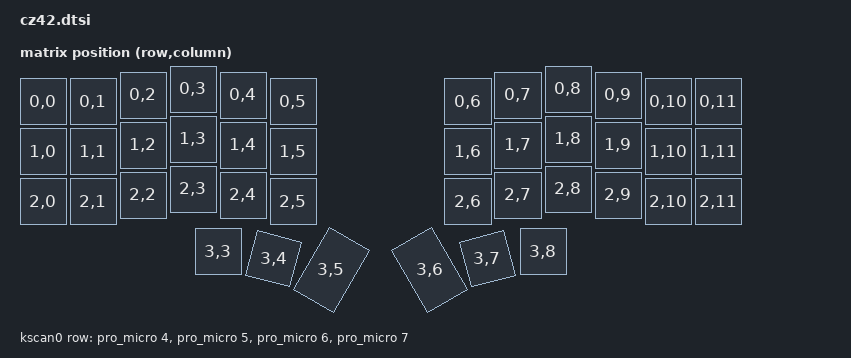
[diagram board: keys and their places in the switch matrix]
/*
 * Copyright (c) 2021 Darryl deHaan
 * SPDX-License-Identifier: MIT
 */

#include <physical_layouts.dtsi>
#include <dt-bindings/zmk/matrix_transform.h>
#include <dt-bindings/led/led.h>

/ {
  chosen {
    zmk,kscan = &kscan0;
  };

  default_transform: keymap_transform_0 {
    compatible = "zmk,matrix-transform";
    columns = <12>;
    rows = <4>;

    map =
      <
       RC(0,0) RC(0,1) RC(0,2) RC(0,3) RC(0,4) RC(0,5)    RC(0,6) RC(0,7) RC(0,8) RC(0,9) RC(0,10) RC(0,11)
       RC(1,0) RC(1,1) RC(1,2) RC(1,3) RC(1,4) RC(1,5)    RC(1,6) RC(1,7) RC(1,8) RC(1,9) RC(1,10) RC(1,11)
       RC(2,0) RC(2,1) RC(2,2) RC(2,3) RC(2,4) RC(2,5)    RC(2,6) RC(2,7) RC(2,8) RC(2,9) RC(2,10) RC(2,11)
       /**/                    RC(3,3) RC(3,4) RC(3,5)    RC(3,6) RC(3,7) RC(3,8)
      >;
  };

  kscan0: kscan {
    compatible = "zmk,kscan-gpio-matrix";
    wakeup-source;
    diode-direction = "col2row";
    row-gpios
      = <&pro_micro 4 (GPIO_ACTIVE_HIGH | GPIO_PULL_DOWN)>
      , <&pro_micro 5 (GPIO_ACTIVE_HIGH | GPIO_PULL_DOWN)>
      , <&pro_micro 6 (GPIO_ACTIVE_HIGH | GPIO_PULL_DOWN)>
      , <&pro_micro 7 (GPIO_ACTIVE_HIGH | GPIO_PULL_DOWN)>
      ;
  };

  soft_off_wakers: soft_off_wakers {
    compatible = "zmk,soft-off-wakeup-sources";
    wakeup-sources = <&kscan0>;
  };

  layout0: layout0 {
    compatible = "zmk,physical-layout";
    display-name = "Corne 6C 3M";
    kscan = <&kscan0>;
    transform = <&default_transform>;
    keys  //                   w   h    x    y     rot    rx    ry
      // row 0 Left
      = <&key_physical_attrs 100 100    0   25       0     0     0>
      , <&key_physical_attrs 100 100  100   25       0     0     0>
      , <&key_physical_attrs 100 100  200   12       0     0     0>
      , <&key_physical_attrs 100 100  300    0       0     0     0>
      , <&key_physical_attrs 100 100  400   12       0     0     0>
      , <&key_physical_attrs 100 100  500   25       0     0     0>
      // row 0 Right
      , <&key_physical_attrs 100 100  850   25       0     0     0>
      , <&key_physical_attrs 100 100  950   12       0     0     0>
      , <&key_physical_attrs 100 100 1050    0       0     0     0>
      , <&key_physical_attrs 100 100 1150   12       0     0     0>
      , <&key_physical_attrs 100 100 1250   25       0     0     0>
      , <&key_physical_attrs 100 100 1350   25       0     0     0>
      // row 1 Left
      , <&key_physical_attrs 100 100    0  125       0     0     0>
      , <&key_physical_attrs 100 100  100  125       0     0     0>
      , <&key_physical_attrs 100 100  200  112       0     0     0>
      , <&key_physical_attrs 100 100  300  100       0     0     0>
      , <&key_physical_attrs 100 100  400  112       0     0     0>
      , <&key_physical_attrs 100 100  500  125       0     0     0>
      // row 1 Right
      , <&key_physical_attrs 100 100  850  125       0     0     0>
      , <&key_physical_attrs 100 100  950  112       0     0     0>
      , <&key_physical_attrs 100 100 1050  100       0     0     0>
      , <&key_physical_attrs 100 100 1150  112       0     0     0>
      , <&key_physical_attrs 100 100 1250  125       0     0     0>
      , <&key_physical_attrs 100 100 1350  125       0     0     0>
      // row 2 Left
      , <&key_physical_attrs 100 100    0  225       0     0     0>
      , <&key_physical_attrs 100 100  100  225       0     0     0>
      , <&key_physical_attrs 100 100  200  212       0     0     0>
      , <&key_physical_attrs 100 100  300  200       0     0     0>
      , <&key_physical_attrs 100 100  400  212       0     0     0>
      , <&key_physical_attrs 100 100  500  225       0     0     0>
      // row 2 Right
      , <&key_physical_attrs 100 100  850  225       0     0     0>
      , <&key_physical_attrs 100 100  950  212       0     0     0>
      , <&key_physical_attrs 100 100 1050  200       0     0     0>
      , <&key_physical_attrs 100 100 1150  212       0     0     0>
      , <&key_physical_attrs 100 100 1250  225       0     0     0>
      , <&key_physical_attrs 100 100 1350  225       0     0     0>
      // row 3 Left
      , <&key_physical_attrs 100 100  350  325       0     0     0>
      , <&key_physical_attrs 100 100  450  325    1500   450   425>
      , <&key_physical_attrs 100 150  560  300    3000   550   425>
      // row 2 Right
      , <&key_physical_attrs 100 150  790  300 (-3000)   900   425>
      , <&key_physical_attrs 100 100  900  325 (-1500)  1000   425>
      , <&key_physical_attrs 100 100 1000  325       0     0     0>
      ;
  };
};
